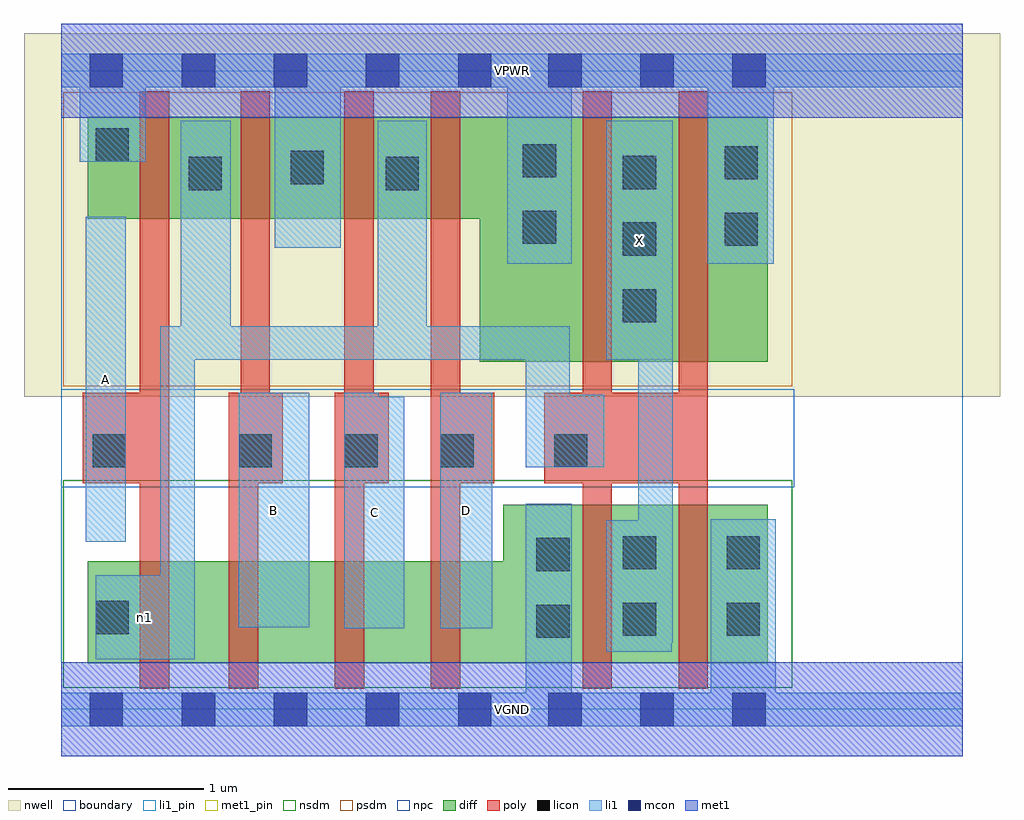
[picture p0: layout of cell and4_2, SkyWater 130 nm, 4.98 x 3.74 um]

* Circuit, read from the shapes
.subckt and4_2 A B C D VGND VPWR X n1
XM1 n2 A n1 VSUBS sky130_fd_pr__nfet_01v8 w=0.52 l=0.15
XM2 n3 B n2 VSUBS sky130_fd_pr__nfet_01v8 w=0.52 l=0.15
XM3 n4 C n3 VSUBS sky130_fd_pr__nfet_01v8 w=0.52 l=0.15
XM4 VGND D n4 VSUBS sky130_fd_pr__nfet_01v8 w=0.52 l=0.15
XM5 X n1 VGND VSUBS sky130_fd_pr__nfet_01v8 w=0.81 l=0.15 m=2
XM6 n1 A VPWR n5 sky130_fd_pr__pfet_01v8 w=0.52 l=0.15
XM7 VPWR B n1 n5 sky130_fd_pr__pfet_01v8 w=0.52 l=0.15
XM8 n1 C VPWR n5 sky130_fd_pr__pfet_01v8 w=0.52 l=0.15
XM9 VPWR D n1 n5 sky130_fd_pr__pfet_01v8 w=0.52 l=0.15
XM10 X n1 VPWR n5 sky130_fd_pr__pfet_01v8 w=1.25 l=0.15 m=2
.ends

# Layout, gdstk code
import gdstk
lib = gdstk.Library(unit=1e-6, precision=1e-09)
def R(c, l, rs):  # rectangles x0, y0, x1, y1
    for r in rs: c.add(gdstk.rectangle(r[:2], r[2:], *l))
def A(c, l, x, y, w, h, nx, ny, dx, dy):  # array of equal rectangles
    R(c, l, [(x+i*dx, y+j*dy, x+i*dx+w, y+j*dy+h) for i in range(nx) for j in range(ny)])
nwell = (64, 20)
diff = (65, 20)
poly = (66, 20)
licon = (66, 44)
li1_pin = (67, 16)
li1 = (67, 20)
mcon = (67, 44)
met1_pin = (68, 16)
met1 = (68, 20)
nsdm = (93, 44)
psdm = (94, 20)
npc = (95, 20)
boundary = (235, 4)

and4_2 = lib.new_cell('and4_2')
R(and4_2, nwell, [(-0.19,1.595,4.79,3.45), (0,1.595,4.6,3.45)])
R(and4_2, diff, [(0.135,0.235,3.605,0.755), (2.255,0.235,3.605,1.045), (2.135,1.775,3.605,3.025), (0.135,2.505,3.605,3.025)])
R(and4_2, poly, [(0.4,0.105,0.55,3.155), (0.855,0.105,1.005,1.615), (1.395,0.105,1.545,1.615), (1.885,0.105,2.035,3.155), (2.66,0.105,2.81,3.155), (3.15,0.105,3.3,3.155), (0.11,1.155,0.55,1.615), (0.855,1.155,1.13,1.615), (0.915,1.155,1.065,3.155), (1.395,1.155,1.67,1.615), (1.445,1.155,1.595,3.155), (1.885,1.155,2.21,1.615), (2.465,1.155,3.3,1.615)])
A(and4_2, licon, 2.865, 1.975, 0.17, 0.17, 1, 3, 0, 0.34)
R(and4_2, licon, [(2.425,0.365,2.595,0.535), (2.865,0.375,3.035,0.545), (3.395,0.375,3.565,0.545), (0.175,0.385,0.345,0.555), (2.425,0.705,2.595,0.875), (2.865,0.715,3.035,0.885), (3.395,0.715,3.565,0.885), (0.16,1.235,0.33,1.405), (0.905,1.235,1.075,1.405), (1.445,1.235,1.615,1.405), (1.935,1.235,2.105,1.405), (2.515,1.235,2.685,1.405), (3.385,2.365,3.555,2.535), (2.355,2.375,2.525,2.545), (0.65,2.65,0.82,2.82), (1.655,2.65,1.825,2.82), (1.17,2.68,1.34,2.85), (3.385,2.705,3.555,2.875), (2.355,2.715,2.525,2.885), (0.175,2.795,0.345,2.965)])
R(and4_2, li1_pin, [(1.445,0.415,1.75,1.595), (1.935,0.415,2.2,1.615), (0.905,0.42,1.265,1.615), (0.125,0.855,0.33,2.515), (2.78,1.785,3.12,3.005)])
R(and4_2, li1, [(0,-0.085,4.6,0.085), (2.37,-0.085,2.605,1.05), (3.315,-0.085,3.645,0.97), (0.175,0.255,0.68,0.685), (0.505,0.255,0.68,1.955), (2.78,0.295,3.115,0.965), (2.945,0.34,3.12,3.005), (1.445,0.415,1.75,1.595), (1.445,0.415,1.62,1.615), (1.935,0.415,2.2,1.615), (0.905,0.42,1.265,1.615), (0.125,0.855,0.33,2.515), (2.37,1.235,2.77,1.605), (2.37,1.235,2.595,1.955), (0.505,1.785,2.595,1.955), (0.61,1.785,0.865,3.005), (1.615,1.785,1.865,3.005), (2.78,1.785,3.12,3.005), (2.275,2.275,2.605,3.345), (3.3,2.275,3.635,3.345), (1.09,2.355,1.425,3.345), (0.095,2.795,0.43,3.345), (0,3.175,4.6,3.345)])
A(and4_2, mcon, 0.145, -0.085, 0.17, 0.17, 5, 2, 0.47, 3.26)
A(and4_2, mcon, 2.485, -0.085, 0.17, 0.17, 3, 2, 0.47, 3.26)
R(and4_2, met1_pin, [(0,-0.24,4.6,0.24), (0,3.02,4.6,3.5)])
R(and4_2, met1, [(0,-0.24,4.6,0.24), (0,3.02,4.6,3.5)])
R(and4_2, nsdm, [(0.01,0.11,3.73,1.17)])
R(and4_2, psdm, [(0.01,1.65,3.73,3.15)])
R(and4_2, npc, [(0,1.135,3.74,1.635)])
R(and4_2, boundary, [(0,0,4.6,3.26)])
and4_2.add(gdstk.Label('A', (0.227,1.685), layer=67, texttype=5))
and4_2.add(gdstk.Label('B', (1.085,1.017), layer=67, texttype=5))
and4_2.add(gdstk.Label('C', (1.597,1.005), layer=67, texttype=5))
and4_2.add(gdstk.Label('D', (2.067,1.015), layer=67, texttype=5))
and4_2.add(gdstk.Label('X', (2.95,2.395), layer=67, texttype=5))
and4_2.add(gdstk.Label('n1', (0.427,0.47), layer=67, texttype=5))
and4_2.add(gdstk.Label('VPWR', (2.3,3.26), layer=68, texttype=5))
and4_2.add(gdstk.Label('VGND', (2.3,0), layer=68, texttype=5))
and4_2.add(gdstk.Label('A', (0.227,1.685), layer=67, texttype=16))
and4_2.add(gdstk.Label('B', (1.085,1.017), layer=67, texttype=16))
and4_2.add(gdstk.Label('C', (1.597,1.005), layer=67, texttype=16))
and4_2.add(gdstk.Label('D', (2.067,1.015), layer=67, texttype=16))
and4_2.add(gdstk.Label('X', (2.95,2.395), layer=67, texttype=16))
and4_2.add(gdstk.Label('VPWR', (2.3,3.26), layer=68, texttype=16))
and4_2.add(gdstk.Label('VGND', (2.3,0), layer=68, texttype=16))

lib.write_gds('and4_2.gds')
